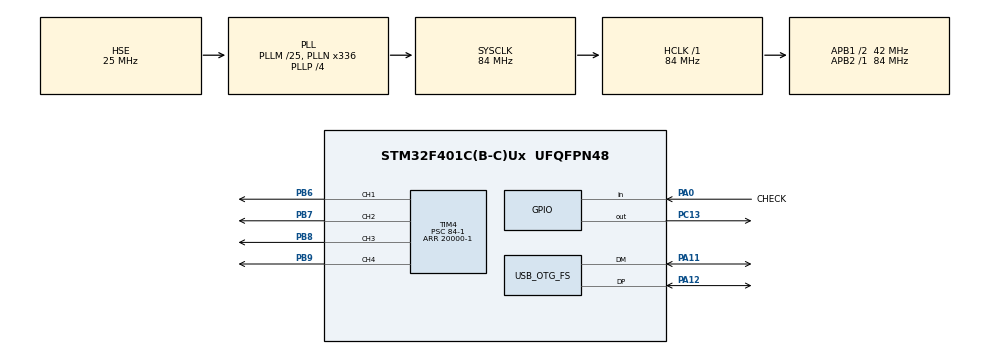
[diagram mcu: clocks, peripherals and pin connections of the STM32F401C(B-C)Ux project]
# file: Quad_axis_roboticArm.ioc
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Mcu.Family=STM32F4
Mcu.Name=STM32F401C(B-C)Ux
Mcu.Package=UFQFPN48
NVIC.OTG_FS_IRQn=true\:0\:0\:false\:false\:true\:false\:true\:true
NVIC.PriorityGroup=NVIC_PRIORITYGROUP_4
PA0-WKUP.GPIO_Label=CHECK
PA0-WKUP.GPIO_PuPd=GPIO_PULLUP
PA0-WKUP.Signal=GPIO_Input
PA11.Mode=Device_Only
PA11.Signal=USB_OTG_FS_DM
PA12.Mode=Device_Only
PA12.Signal=USB_OTG_FS_DP
PA13.Mode=Serial_Wire
PA13.Signal=SYS_JTMS-SWDIO
PA14.Mode=Serial_Wire
PA14.Signal=SYS_JTCK-SWCLK
PB6.Signal=S_TIM4_CH1
PB7.Signal=S_TIM4_CH2
PB8.Signal=S_TIM4_CH3
PB9.Signal=S_TIM4_CH4
PC13-ANTI_TAMP.Signal=GPIO_Output
PC14-OSC32_IN.Mode=LSE-External-Oscillator
PC14-OSC32_IN.Signal=RCC_OSC32_IN
PC15-OSC32_OUT.Mode=LSE-External-Oscillator
PC15-OSC32_OUT.Signal=RCC_OSC32_OUT
PH0\ -\ OSC_IN.Mode=HSE-External-Oscillator
PH0\ -\ OSC_IN.Signal=RCC_OSC_IN
PH1\ -\ OSC_OUT.Mode=HSE-External-Oscillator
PH1\ -\ OSC_OUT.Signal=RCC_OSC_OUT
ProjectManager.HeapSize=0x200
ProjectManager.StackSize=0x400
ProjectManager.TargetToolchain=CMake
RCC.48MHZClocksFreq_Value=48000000
RCC.AHBFreq_Value=84000000
RCC.APB1CLKDivider=RCC_HCLK_DIV2
RCC.APB1Freq_Value=42000000
RCC.APB1TimFreq_Value=84000000
RCC.APB2Freq_Value=84000000
RCC.APB2TimFreq_Value=84000000
RCC.CortexFreq_Value=84000000
RCC.HCLKFreq_Value=84000000
RCC.HSE_VALUE=25000000
RCC.HSI_VALUE=16000000
RCC.PLLM=25
RCC.PLLN=336
RCC.PLLP=RCC_PLLP_DIV4
RCC.PLLQ=7
RCC.SYSCLKFreq_VALUE=84000000
RCC.SYSCLKSource=RCC_SYSCLKSOURCE_PLLCLK
RCC.VCOOutputFreq_Value=336000000
SH.S_TIM4_CH1.0=TIM4_CH1,PWM Generation1 CH1
SH.S_TIM4_CH2.0=TIM4_CH2,PWM Generation2 CH2
SH.S_TIM4_CH3.0=TIM4_CH3,PWM Generation3 CH3
SH.S_TIM4_CH4.0=TIM4_CH4,PWM Generation4 CH4
TIM3.Period=1000-1
TIM3.Prescaler=84-1
TIM4.Channel-PWM\ Generation1\ CH1=TIM_CHANNEL_1
TIM4.Channel-PWM\ Generation2\ CH2=TIM_CHANNEL_2
TIM4.Channel-PWM\ Generation3\ CH3=TIM_CHANNEL_3
TIM4.Channel-PWM\ Generation4\ CH4=TIM_CHANNEL_4
TIM4.Period=20000-1
TIM4.Prescaler=84-1
TIM4.Pulse-PWM\ Generation1\ CH1=1500
TIM4.Pulse-PWM\ Generation2\ CH2=1500
TIM4.Pulse-PWM\ Generation3\ CH3=1500
TIM4.Pulse-PWM\ Generation4\ CH4=1200
USB_DEVICE.CLASS_NAME_FS=CUSTOM_HID
USB_DEVICE.VirtualMode=CustomHid
USB_DEVICE.VirtualModeFS=Custom_Hid_FS
USB_OTG_FS.VirtualMode=Device_Only
VP_TIM3_VS_ClockSourceINT.Mode=Internal
VP_TIM4_VS_ClockSourceINT.Mode=Internal
VP_USB_DEVICE_VS_USB_DEVICE_CUSTOM_HID_FS.Mode=CUSTOM_HID_FS
board=custom

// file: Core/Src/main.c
/* USER CODE BEGIN Header */
/**
  ******************************************************************************
  * @file           : main.c
  * @brief          : Main program body
  ******************************************************************************
  * @attention
  *
  * Copyright (c) 2026 STMicroelectronics.
  * All rights reserved.
  *
  * This software is licensed under terms that can be found in the LICENSE file
  * in the root directory of this software component.
  * If no LICENSE file comes with this software, it is provided AS-IS.
  *
  ******************************************************************************
  */
/* USER CODE END Header */
#include "main.h"
#include "tim.h"
#include "usb_device.h"
#include "gpio.h"

/* USER CODE BEGIN Includes */
#include "stdio.h"
#include "arm.h"
#include "stdlib.h"
/* USER CODE END Includes */

void SystemClock_Config(void);

/* USER CODE BEGIN 0 */
volatile uint8_t f_1ms=0;//1ms的控制节拍
volatile uint16_t tick=0;//计时器
uint8_t key_state=1;//用于反转led的按键的状态 1=高电平 未按下

//声明四个状态变量
void State_auto();//自动模式
void State_manual();//手动模式
void State_return();//回零模式
void State_fault();//故障模式

//定义状态机结构体
typedef struct{
  void (*f)(void);
} StateMachine;

//状态机的枚举
typedef enum{
  STATE_ANTO=0,
  STATE_MANUAL,
  STATE_RETURN,
  STATE_FAULT
} Sys_State;

//状态机数组
StateMachine state_tab[4]={
  {State_auto},
  {State_manual},
  {State_return},
  {State_fault}
};
Sys_State current_sys_state=STATE_RETURN;//定义当前系统状态 初始为回零状态
/* USER CODE END 0 */

int main(void)
{

  /* MCU Configuration--------------------------------------------------------*/

  /* Reset of all peripherals, Initializes the Flash interface and the Systick. */
  HAL_Init();

  /* Configure the system clock */
  SystemClock_Config();

  /* Initialize all configured peripherals */
  MX_GPIO_Init();
  MX_TIM3_Init();
  MX_TIM4_Init();
  MX_USB_DEVICE_Init();
  /* USER CODE BEGIN 2 */

  Base_Init();
  Arm_Init();
  HAL_TIM_Base_Start_IT(&htim3);//开启时基
  /* USER CODE END 2 */

  /* Infinite loop */
  while (1)
  {

    /* USER CODE BEGIN 3 */
    //===
    if(f_1ms){
      tick++;
      f_1ms=0;

      if(tick%1000==0){//LED以1Hz闪烁
        HAL_GPIO_TogglePin(CHECK_GPIO_Port, CHECK_Pin);
      }
      //每1ms要执行的-------------------

      //-------------------------------

      //200Hz插补周期-------------------
      if(tick%5==0){
      //------------测试运行的代码
      //   Arm_Update();

      //   static uint8_t test_step = 0;
      //   static uint16_t step_timer = 0;
      //   step_timer += 5;

      //   // --- 动作 0：全部回中 (持续 2 秒) ---
      //   if(test_step == 0) {
      //       if(step_timer >= 2000) {
      //           // 1~3号走 S 曲线，底座转动（假设要往正方向转）
      //           Arm_SetTarget(450, -450, 0);

      //           // 调用底座：相对转 0度，最大速度偏移给 80（大概 80*5 = 400us）
      //           // 如果你希望底座只在这个动作转 1 圈，可以通过校准得到角度值
      //           // 但我们现在只是演示，让它在这个 1.2 秒的动作里转一下
      //           Base_MoveAngle(360, 80);

      //           test_step = 1;
      //           step_timer = 0;
      //       }
      //   }
      //   // --- 动作 1：大角度展开 (持续 2 秒) ---
      //   else if(test_step == 1) {
      //       if(step_timer >= 2000) {
      //           Arm_SetTarget(0, 0, 900);
      //           Base_MoveAngle(-360, 80); // 反转回来

      //           test_step = 2;
      //           step_timer = 0;
      //       }
      //   }
      }
      //----------------------------------------------

      //50Hz状态上报--------------------
      if(tick%20==0){

        //按键翻转LED
        uint8_t current_key=HAL_GPIO_ReadPin(GPIOA, GPIO_PIN_7);
        if(current_key==GPIO_PIN_RESET && key_state==GPIO_PIN_SET){//下降沿
          HAL_GPIO_TogglePin(CHECK_GPIO_Port, CHECK_Pin);
        }
        key_state=current_key;
      }//------------------------------

    }
  }
  /* USER CODE END 3 */
}

void SystemClock_Config(void)
{
  RCC_OscInitTypeDef RCC_OscInitStruct = {0};
  RCC_ClkInitTypeDef RCC_ClkInitStruct = {0};

  /** Configure the main internal regulator output voltage
  */
  __HAL_RCC_PWR_CLK_ENABLE();
  __HAL_PWR_VOLTAGESCALING_CONFIG(PWR_REGULATOR_VOLTAGE_SCALE2);

  /** Initializes the RCC Oscillators according to the specified parameters
  * in the RCC_OscInitTypeDef structure.
  */
  RCC_OscInitStruct.OscillatorType = RCC_OSCILLATORTYPE_HSE;
  RCC_OscInitStruct.HSEState = RCC_HSE_ON;
  RCC_OscInitStruct.PLL.PLLState = RCC_PLL_ON;
  RCC_OscInitStruct.PLL.PLLSource = RCC_PLLSOURCE_HSE;
  RCC_OscInitStruct.PLL.PLLM = 25;
  RCC_OscInitStruct.PLL.PLLN = 336;
  RCC_OscInitStruct.PLL.PLLP = RCC_PLLP_DIV4;
  RCC_OscInitStruct.PLL.PLLQ = 7;
  if (HAL_RCC_OscConfig(&RCC_OscInitStruct) != HAL_OK)
  {
    Error_Handler();
  }

  /** Initializes the CPU, AHB and APB buses clocks
  */
  RCC_ClkInitStruct.ClockType = RCC_CLOCKTYPE_HCLK|RCC_CLOCKTYPE_SYSCLK
                              |RCC_CLOCKTYPE_PCLK1|RCC_CLOCKTYPE_PCLK2;
  RCC_ClkInitStruct.SYSCLKSource = RCC_SYSCLKSOURCE_PLLCLK;
  RCC_ClkInitStruct.AHBCLKDivider = RCC_SYSCLK_DIV1;
  RCC_ClkInitStruct.APB1CLKDivider = RCC_HCLK_DIV2;
  RCC_ClkInitStruct.APB2CLKDivider = RCC_HCLK_DIV1;

  if (HAL_RCC_ClockConfig(&RCC_ClkInitStruct, FLASH_LATENCY_2) != HAL_OK)
  {
    Error_Handler();
  }
}

/* USER CODE BEGIN 4 */
void HAL_TIM_PeriodElapsedCallback(TIM_HandleTypeDef *htim){//1ms节拍中断
  if(htim==&htim3){
    f_1ms=1;//把1ms标志位置1
  }
}
/* USER CODE END 4 */

void Error_Handler(void)
{
  __disable_irq();
  while (1)
  {
  }
}
